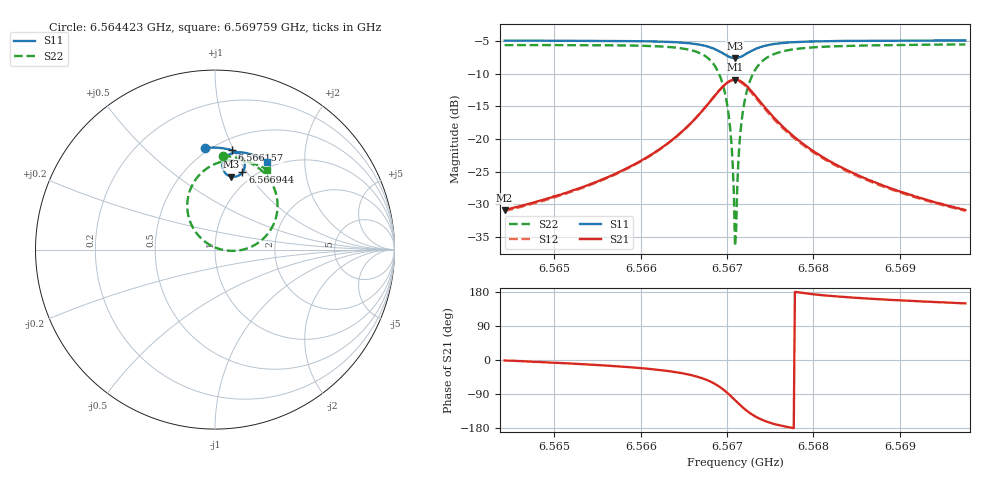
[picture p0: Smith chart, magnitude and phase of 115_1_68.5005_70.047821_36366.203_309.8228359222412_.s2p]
#  HZ  S  RI  R  50.00
! Rohde & Schwarz Vector Network Analyzer
! Rohde-Schwarz,ZNB20-2Port,1311601062101988,3.16
! Created: UTC 3/20/2024, 5:08:51 PM
! freq[Hz]  re:S11  im:S11  re:S21  im:S21  re:S12  im:S12  re:S22  im:S22
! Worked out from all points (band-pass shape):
!   401 points, 6.564423 GHz to 6.569759 GHz, reference 50 ohm
!   highest |S21| = -10.89 dB at 6.567091 GHz (marker M1); lowest = -30.9 dB at 6.564423 GHz (marker M2)
!   |S21| within 3 dB of the highest: 6.566825 GHz to 6.567359 GHz (534.1 kHz wide, 0.00813 % of centre)
!   lowest |S11| = -7.6 dB at 6.567091 GHz (marker M3), VSWR 2.43, Z = 41.6 + j41 ohm
!   |S11| at or under -10 dB: nowhere
!   |S22| runs from -36.5 to -5.5 dB; largest |S21 - S12| = 0.014
!   S11 on the Smith chart (normalised r, x): 6.564423 GHz: 0.47, +0.79; 6.566157 GHz: 0.61, +0.98; 6.566944 GHz: 0.88, +0.95; 6.569759 GHz: 0.91, +1.32
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6.5644226e9  -0.0579 0.5661  0.0284 -0.000645  0.028 -0.00101  0.042 0.5238
6.5653165e9  0.0157 0.5677  0.0418 -0.00803  0.0411 -0.00872  0.1274 0.5098
6.566157e9  0.0947 0.5529  0.0712 -0.033  0.0703 -0.0337  0.2387 0.4573
6.5662104e9  0.1004 0.5506  0.0745 -0.0365  0.0733 -0.0374  0.2481 0.4502
6.5667173e9  0.1595 0.4992  0.1098 -0.1247  0.1071 -0.1271  0.3465 0.2788
6.5668508e9  0.1656 0.4633  0.0992 -0.1876  0.0945 -0.191  0.3336 0.1589
6.5669442e9  0.1532 0.431  0.0607 -0.2427  0.0523 -0.2456  0.2636 0.056
6.5669842e9  0.1408 0.4184  0.0311 -0.2631  0.021 -0.2647  0.2091 0.0192
6.5670242e9  0.124 0.4092  -0.00615 -0.277  -0.0178 -0.2761  0.1408 -0.00349
6.5670509e9  0.1109 0.4062  -0.0344 -0.2804  -0.0465 -0.2777  0.0901 -0.00712
6.5670776e9  0.0971 0.406  -0.0633 -0.2781  -0.0755 -0.2732  0.0386 -0.000368
6.5670909e9  0.0903 0.4071  -0.0778 -0.2747  -0.0896 -0.269  0.0134 0.00691
6.5671043e9  0.0835 0.409  -0.0918 -0.2702  -0.1032 -0.2632  -0.0108 0.0168
6.5671176e9  0.077 0.4116  -0.1052 -0.264  -0.116 -0.2562  -0.0336 0.029
6.5671443e9  0.0654 0.4188  -0.1294 -0.2488  -0.1389 -0.2391  -0.074 0.0597
6.5671843e9  0.0521 0.4332  -0.1579 -0.219  -0.1646 -0.2078  -0.1192 0.1154
6.5672377e9  0.0428 0.4554  -0.1796 -0.1751  -0.1825 -0.1636  -0.1499 0.1951
6.5673044e9  0.0428 0.4814  -0.1855 -0.1247  -0.1852 -0.1147  -0.1514 0.2835
6.5675445e9  0.0803 0.5304  -0.1425 -0.028  -0.1394 -0.0237  -0.0539 0.4458
6.5679848e9  0.1434 0.5423  -0.0813 0.00885  -0.0794 0.01  0.0838 0.4976
6.5688787e9  0.2273 0.5218  -0.0394 0.0153  -0.0386 0.0155  0.2142 0.4802
6.5697592e9  0.2924 0.4902  -0.0245 0.0145  -0.0239 0.0145  0.2919 0.4445
